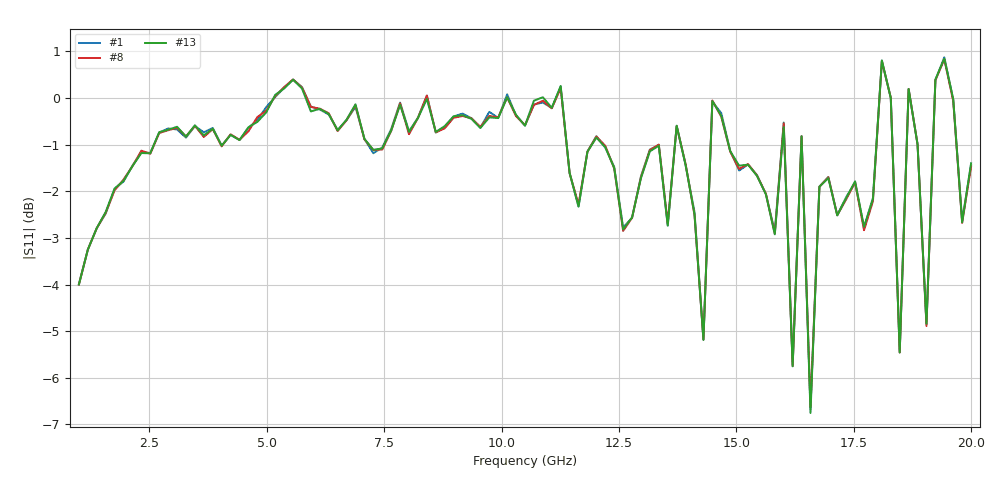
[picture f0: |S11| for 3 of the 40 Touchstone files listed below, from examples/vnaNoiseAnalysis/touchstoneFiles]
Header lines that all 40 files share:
# GHz S RI R 50
!freq	ReS11	ImS11
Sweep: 1 GHz to 20 GHz
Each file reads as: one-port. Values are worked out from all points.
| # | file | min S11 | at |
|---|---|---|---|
| 1 | 2010-12-01 15-50-38.847000.s1p | -6.7 dB | 16.58 GHz |
| 2 | 2010-12-01 15-50-40.499000.s1p | -6.7 dB | 16.58 GHz |
| 3 | 2010-12-01 15-50-42.122000.s1p | -6.7 dB | 16.58 GHz |
| 4 | 2010-12-01 15-50-43.754000.s1p | -6.7 dB | 16.58 GHz |
| 5 | 2010-12-01 15-50-45.386000.s1p | -6.7 dB | 16.58 GHz |
| 6 | 2010-12-01 15-50-46.989000.s1p | -6.7 dB | 16.58 GHz |
| 7 | 2010-12-01 15-50-48.631000.s1p | -6.7 dB | 16.58 GHz |
| 8 | 2010-12-01 15-50-50.233000.s1p | -6.6 dB | 16.58 GHz |
| 9 | 2010-12-01 15-50-51.916000.s1p | -6.7 dB | 16.58 GHz |
| 10 | 2010-12-01 15-50-53.558000.s1p | -6.7 dB | 16.58 GHz |
| 11 | 2010-12-01 15-50-55.190000.s1p | -6.7 dB | 16.58 GHz |
| 12 | 2010-12-01 15-50-56.813000.s1p | -6.7 dB | 16.58 GHz |
| 13 | 2010-12-01 15-50-58.415000.s1p | -6.8 dB | 16.58 GHz |
| 14 | 2010-12-01 15-51-00.037000.s1p | -6.8 dB | 16.58 GHz |
| 15 | 2010-12-01 15-51-01.660000.s1p | -6.6 dB | 16.58 GHz |
| 16 | 2010-12-01 15-51-03.322000.s1p | -6.7 dB | 16.58 GHz |
| 17 | 2010-12-01 15-51-04.924000.s1p | -6.7 dB | 16.58 GHz |
| 18 | 2010-12-01 15-51-06.577000.s1p | -6.7 dB | 16.58 GHz |
| 19 | 2010-12-01 15-51-08.209000.s1p | -6.7 dB | 16.58 GHz |
| 20 | 2010-12-01 15-51-09.851000.s1p | -6.7 dB | 16.58 GHz |
| 21 | 2010-12-01 15-51-11.454000.s1p | -6.7 dB | 16.58 GHz |
| 22 | 2010-12-01 15-51-13.316000.s1p | -6.6 dB | 16.58 GHz |
| 23 | 2010-12-01 15-51-14.949000.s1p | -6.7 dB | 16.58 GHz |
| 24 | 2010-12-01 15-51-16.571000.s1p | -6.7 dB | 16.58 GHz |
| 25 | 2010-12-01 15-51-18.243000.s1p | -6.7 dB | 16.58 GHz |
| 26 | 2010-12-01 15-51-19.886000.s1p | -6.7 dB | 16.58 GHz |
| 27 | 2010-12-01 15-51-21.528000.s1p | -6.7 dB | 16.58 GHz |
| 28 | 2010-12-01 15-51-23.171000.s1p | -6.7 dB | 16.58 GHz |
| 29 | 2010-12-01 15-51-24.793000.s1p | -6.7 dB | 16.58 GHz |
| 30 | 2010-12-01 15-51-26.435000.s1p | -6.7 dB | 16.58 GHz |
| 31 | 2010-12-01 15-51-28.058000.s1p | -6.7 dB | 16.58 GHz |
| 32 | 2010-12-01 15-51-29.700000.s1p | -6.7 dB | 16.58 GHz |
| 33 | 2010-12-01 15-51-31.322000.s1p | -6.7 dB | 16.58 GHz |
| 34 | 2010-12-01 15-51-32.935000.s1p | -6.7 dB | 16.58 GHz |
| 35 | 2010-12-01 15-51-34.567000.s1p | -6.7 dB | 16.58 GHz |
| 36 | 2010-12-01 15-51-36.189000.s1p | -6.7 dB | 16.58 GHz |
| 37 | 2010-12-01 15-51-37.792000.s1p | -6.7 dB | 16.58 GHz |
| 38 | 2010-12-01 15-51-39.434000.s1p | -6.7 dB | 16.58 GHz |
| 39 | 2010-12-01 15-51-41.086000.s1p | -6.7 dB | 16.58 GHz |
| 40 | 2010-12-01 15-51-42.699000.s1p | -6.6 dB | 16.58 GHz |
